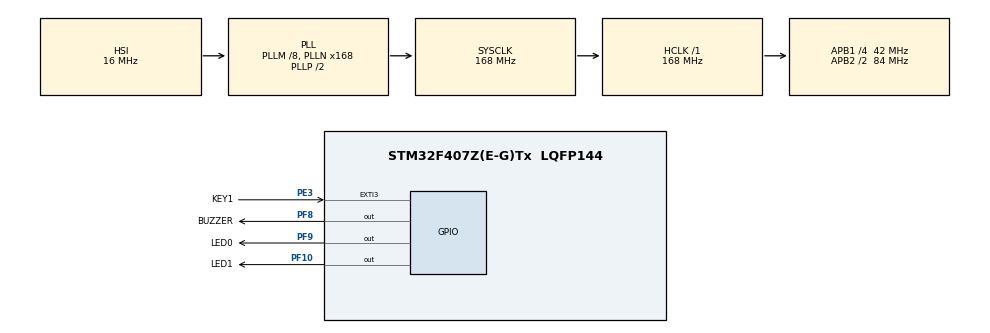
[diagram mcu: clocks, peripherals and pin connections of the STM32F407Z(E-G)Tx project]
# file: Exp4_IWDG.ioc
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IWDG.Prescaler=IWDG_PRESCALER_64
IWDG.Reload=2559
Mcu.Family=STM32F4
Mcu.Name=STM32F407Z(E-G)Tx
Mcu.Package=LQFP144
NVIC.EXTI3_IRQn=true\:0\:0\:false\:false\:true\:true\:true\:true
NVIC.PriorityGroup=NVIC_PRIORITYGROUP_4
NVIC.TIM3_IRQn=true\:0\:0\:false\:false\:true\:true\:true\:true
PA13.Mode=Serial_Wire
PA13.Signal=SYS_JTMS-SWDIO
PA14.Mode=Serial_Wire
PA14.Signal=SYS_JTCK-SWCLK
PE3.GPIO_Label=KEY1
PE3.GPIO_ModeDefaultEXTI=GPIO_MODE_IT_FALLING
PE3.GPIO_PuPd=GPIO_PULLUP
PE3.Signal=GPXTI3
PF10.GPIO_Label=LED1
PF10.PinState=GPIO_PIN_SET
PF10.Signal=GPIO_Output
PF8.GPIO_Label=BUZZER
PF8.Signal=GPIO_Output
PF9.GPIO_Label=LED0
PF9.PinState=GPIO_PIN_SET
PF9.Signal=GPIO_Output
PH0-OSC_IN.Mode=HSE-External-Oscillator
PH0-OSC_IN.Signal=RCC_OSC_IN
PH1-OSC_OUT.Mode=HSE-External-Oscillator
PH1-OSC_OUT.Signal=RCC_OSC_OUT
ProjectManager.HeapSize=0x200
ProjectManager.StackSize=0x400
ProjectManager.TargetToolchain=CMake
RCC.48MHZClocksFreq_Value=84000000
RCC.AHBFreq_Value=168000000
RCC.APB1CLKDivider=RCC_HCLK_DIV4
RCC.APB1Freq_Value=42000000
RCC.APB1TimFreq_Value=84000000
RCC.APB2CLKDivider=RCC_HCLK_DIV2
RCC.APB2Freq_Value=84000000
RCC.APB2TimFreq_Value=168000000
RCC.CortexFreq_Value=168000000
RCC.HCLKFreq_Value=168000000
RCC.HSE_VALUE=25000000
RCC.HSI_VALUE=16000000
RCC.LSE_VALUE=32768
RCC.PLLM=8
RCC.PLLN=168
RCC.SYSCLKFreq_VALUE=168000000
RCC.SYSCLKSource=RCC_SYSCLKSOURCE_PLLCLK
RCC.VCOOutputFreq_Value=336000000
TIM3.Period=1999
TIM3.Prescaler=8399
VP_IWDG_VS_IWDG.Mode=IWDG_Activate
VP_TIM3_VS_ClockSourceINT.Mode=Internal
board=custom

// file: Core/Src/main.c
/* USER CODE BEGIN Header */
/**
  ******************************************************************************
  * @file           : main.c
  * @brief          : Main program body
  ******************************************************************************
  * @attention
  *
  * Copyright (c) 2026 STMicroelectronics.
  * All rights reserved.
  *
  * This software is licensed under terms that can be found in the LICENSE file
  * in the root directory of this software component.
  * If no LICENSE file comes with this software, it is provided AS-IS.
  *
  ******************************************************************************
  */
/* USER CODE END Header */
#include "main.h"

IWDG_HandleTypeDef hiwdg;

TIM_HandleTypeDef htim3;

/* USER CODE BEGIN PV */
uint32_t timer_tick = 0;
uint8_t alarm_active = 0;
/* USER CODE END PV */

void SystemClock_Config(void);
static void MX_GPIO_Init(void);
static void MX_IWDG_Init(void);
static void MX_TIM3_Init(void);

int main(void)
{

  /* MCU Configuration--------------------------------------------------------*/

  /* Reset of all peripherals, Initializes the Flash interface and the Systick. */
  HAL_Init();

  /* Configure the system clock */
  SystemClock_Config();

  /* Initialize all configured peripherals */
  MX_GPIO_Init();
  MX_IWDG_Init();
  MX_TIM3_Init();
  /* USER CODE BEGIN 2 */

  // Reset mark
  HAL_GPIO_WritePin(GPIOF, LED0_Pin, GPIO_PIN_RESET);
  HAL_Delay(200);
  HAL_GPIO_WritePin(GPIOF, LED0_Pin, GPIO_PIN_SET);
  HAL_Delay(200);
  HAL_GPIO_WritePin(GPIOF, LED0_Pin, GPIO_PIN_RESET);

  // Start timer 3
  HAL_TIM_Base_Start_IT(&htim3);

  /* USER CODE END 2 */

  /* Infinite loop */
  while (1)
  {

  }
}

void SystemClock_Config(void)
{
  RCC_OscInitTypeDef RCC_OscInitStruct = {0};
  RCC_ClkInitTypeDef RCC_ClkInitStruct = {0};

  /** Configure the main internal regulator output voltage
  */
  __HAL_RCC_PWR_CLK_ENABLE();
  __HAL_PWR_VOLTAGESCALING_CONFIG(PWR_REGULATOR_VOLTAGE_SCALE1);

  /** Initializes the RCC Oscillators according to the specified parameters
  * in the RCC_OscInitTypeDef structure.
  */
  RCC_OscInitStruct.OscillatorType = RCC_OSCILLATORTYPE_HSI|RCC_OSCILLATORTYPE_LSI;
  RCC_OscInitStruct.HSIState = RCC_HSI_ON;
  RCC_OscInitStruct.HSICalibrationValue = RCC_HSICALIBRATION_DEFAULT;
  RCC_OscInitStruct.LSIState = RCC_LSI_ON;
  RCC_OscInitStruct.PLL.PLLState = RCC_PLL_ON;
  RCC_OscInitStruct.PLL.PLLSource = RCC_PLLSOURCE_HSI;
  RCC_OscInitStruct.PLL.PLLM = 8;
  RCC_OscInitStruct.PLL.PLLN = 168;
  RCC_OscInitStruct.PLL.PLLP = RCC_PLLP_DIV2;
  RCC_OscInitStruct.PLL.PLLQ = 4;
  if (HAL_RCC_OscConfig(&RCC_OscInitStruct) != HAL_OK)
  {
    Error_Handler();
  }

  /** Initializes the CPU, AHB and APB buses clocks
  */
  RCC_ClkInitStruct.ClockType = RCC_CLOCKTYPE_HCLK|RCC_CLOCKTYPE_SYSCLK
                              |RCC_CLOCKTYPE_PCLK1|RCC_CLOCKTYPE_PCLK2;
  RCC_ClkInitStruct.SYSCLKSource = RCC_SYSCLKSOURCE_PLLCLK;
  RCC_ClkInitStruct.AHBCLKDivider = RCC_SYSCLK_DIV1;
  RCC_ClkInitStruct.APB1CLKDivider = RCC_HCLK_DIV4;
  RCC_ClkInitStruct.APB2CLKDivider = RCC_HCLK_DIV2;

  if (HAL_RCC_ClockConfig(&RCC_ClkInitStruct, FLASH_LATENCY_5) != HAL_OK)
  {
    Error_Handler();
  }
}

static void MX_IWDG_Init(void)
{

  hiwdg.Instance = IWDG;
  hiwdg.Init.Prescaler = IWDG_PRESCALER_64;
  hiwdg.Init.Reload = 2559;
  if (HAL_IWDG_Init(&hiwdg) != HAL_OK)
  {
    Error_Handler();
  }

}

static void MX_TIM3_Init(void)
{

  TIM_ClockConfigTypeDef sClockSourceConfig = {0};
  TIM_MasterConfigTypeDef sMasterConfig = {0};

  htim3.Instance = TIM3;
  htim3.Init.Prescaler = 8399;
  htim3.Init.CounterMode = TIM_COUNTERMODE_UP;
  htim3.Init.Period = 1999;
  htim3.Init.ClockDivision = TIM_CLOCKDIVISION_DIV1;
  htim3.Init.AutoReloadPreload = TIM_AUTORELOAD_PRELOAD_DISABLE;
  if (HAL_TIM_Base_Init(&htim3) != HAL_OK)
  {
    Error_Handler();
  }
  sClockSourceConfig.ClockSource = TIM_CLOCKSOURCE_INTERNAL;
  if (HAL_TIM_ConfigClockSource(&htim3, &sClockSourceConfig) != HAL_OK)
  {
    Error_Handler();
  }
  sMasterConfig.MasterOutputTrigger = TIM_TRGO_RESET;
  sMasterConfig.MasterSlaveMode = TIM_MASTERSLAVEMODE_DISABLE;
  if (HAL_TIMEx_MasterConfigSynchronization(&htim3, &sMasterConfig) != HAL_OK)
  {
    Error_Handler();
  }

}

static void MX_GPIO_Init(void)
{
  GPIO_InitTypeDef GPIO_InitStruct = {0};

  /* GPIO Ports Clock Enable */
  __HAL_RCC_GPIOE_CLK_ENABLE();
  __HAL_RCC_GPIOF_CLK_ENABLE();
  __HAL_RCC_GPIOH_CLK_ENABLE();
  __HAL_RCC_GPIOA_CLK_ENABLE();

  /*Configure GPIO pin Output Level */
  HAL_GPIO_WritePin(BUZZER_GPIO_Port, BUZZER_Pin, GPIO_PIN_RESET);

  /*Configure GPIO pin Output Level */
  HAL_GPIO_WritePin(GPIOF, LED0_Pin|LED1_Pin, GPIO_PIN_SET);

  /*Configure GPIO pin : KEY1_Pin */
  GPIO_InitStruct.Pin = KEY1_Pin;
  GPIO_InitStruct.Mode = GPIO_MODE_IT_FALLING;
  GPIO_InitStruct.Pull = GPIO_PULLUP;
  HAL_GPIO_Init(KEY1_GPIO_Port, &GPIO_InitStruct);

  /*Configure GPIO pins : BUZZER_Pin LED0_Pin LED1_Pin */
  GPIO_InitStruct.Pin = BUZZER_Pin|LED0_Pin|LED1_Pin;
  GPIO_InitStruct.Mode = GPIO_MODE_OUTPUT_PP;
  GPIO_InitStruct.Pull = GPIO_NOPULL;
  GPIO_InitStruct.Speed = GPIO_SPEED_FREQ_LOW;
  HAL_GPIO_Init(GPIOF, &GPIO_InitStruct);

  /* EXTI interrupt init*/
  HAL_NVIC_SetPriority(EXTI3_IRQn, 0, 0);
  HAL_NVIC_EnableIRQ(EXTI3_IRQn);

}

/* USER CODE BEGIN 4 */
void HAL_TIM_PeriodElapsedCallback(TIM_HandleTypeDef *htim)
{
  if (htim->Instance == TIM3) {
    timer_tick++;
    // 200ms/tick, total time 3.6s
    if (timer_tick >= 18) {
      HAL_GPIO_TogglePin(GPIOF, LED1_Pin);
      HAL_GPIO_TogglePin(BUZZER_GPIO_Port, BUZZER_Pin);
    }
  }
}

void HAL_GPIO_EXTI_Callback(uint16_t GPIO_Pin)
{
  if (GPIO_Pin == KEY1_Pin) {
    HAL_IWDG_Refresh(&hiwdg);
    timer_tick = 0;

    // Reset alarm
    HAL_GPIO_WritePin(GPIOF, LED1_Pin, GPIO_PIN_SET);
    HAL_GPIO_WritePin(BUZZER_GPIO_Port, BUZZER_Pin, GPIO_PIN_RESET);
  }
}
/* USER CODE END 4 */

void Error_Handler(void)
{
  __disable_irq();
  while (1)
  {
  }
}
